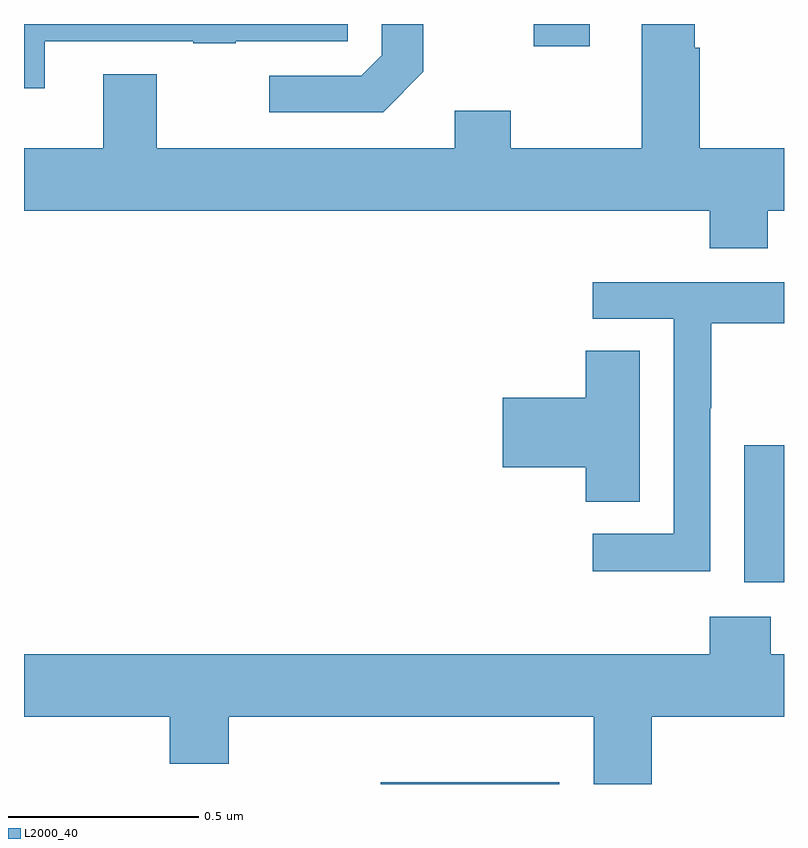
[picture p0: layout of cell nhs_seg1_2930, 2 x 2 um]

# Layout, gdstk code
import gdstk
lib = gdstk.Library(unit=1e-6, precision=1e-09)
def R(c, l, rs):  # rectangles x0, y0, x1, y1
    for r in rs: c.add(gdstk.rectangle(r[:2], r[2:], *l))
def P(c, l, *ps):  # polygons
    for p in ps: c.add(gdstk.Polygon(p, *l))
L2000_40 = (2000, 40)

nhs_seg1_2930 = lib.new_cell('nhs_seg1_2930')
R(nhs_seg1_2930, L2000_40, [(147.939,574.199,148.408,574.204), (148.895,574.73,149,575.091), (148.341,576.141,148.489,576.199), (148.901,576.198,149,576.199)])
P(nhs_seg1_2930, L2000_40, [(148.957,575.708),(149,575.708),(149,575.872),(148.778,575.872),(148.778,576.137),(148.765,576.137),(148.765,576.199),(148.625,576.199),(148.625,575.872),(148.281,575.872),(148.281,575.971),(148.133,575.971),(148.133,575.872),(147.349,575.872),(147.349,576.067),(147.209,576.067),(147.209,575.872),(147,575.872),(147,575.708),(148.805,575.708),(148.805,575.609),(148.957,575.609)],
  [(147.055,576.153),(147.445,576.153),(147.445,576.148),(147.557,576.148),(147.557,576.153),(147.852,576.153),(147.852,576.199),(147,576.199),(147,576.03),(147.055,576.03)],
  [(148.051,576.073),(148.051,576.199),(147.942,576.199),(147.942,576.117),(147.888,576.063),(147.645,576.063),(147.645,575.967),(147.945,575.967)],
  [(148.806,575.188),(148.809,575.188),(148.809,575.412),(149,575.412),(149,575.52),(148.497,575.52),(148.497,575.424),(148.71,575.424),(148.71,574.857),(148.497,574.857),(148.497,574.759),(148.806,574.759)],
  [(148.621,575.339),(148.478,575.339),(148.478,575.216),(148.26,575.216),(148.26,575.033),(148.478,575.033),(148.478,574.942),(148.621,574.942)],
  [(149,574.54),(148.965,574.54),(148.965,574.639),(148.805,574.639),(148.805,574.54),(147,574.54),(147,574.376),(147.383,574.376),(147.383,574.252),(147.539,574.252),(147.539,574.376),(148.499,574.376),(148.499,574.199),(148.652,574.199),(148.652,574.376),(149,574.376)])

lib.write_gds('nhs_seg1_2930.gds')
